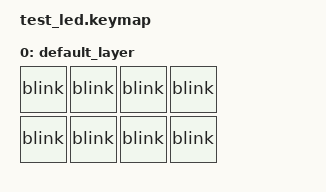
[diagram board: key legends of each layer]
#include <behaviors.dtsi>
#include <dt-bindings/zmk/keys.h>

/ {
    behaviors {
        blink: led_blink {
            compatible = "zmk,behavior-leds";
            label = "LED_BLINK";
            #binding-cells = <0>;
        };
    };

    keymap {
        compatible = "zmk,keymap";

        default_layer {
            bindings = <
                &blink  &blink  &blink  &blink
                &blink  &blink  &blink  &blink
            >;
        };
    };
};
